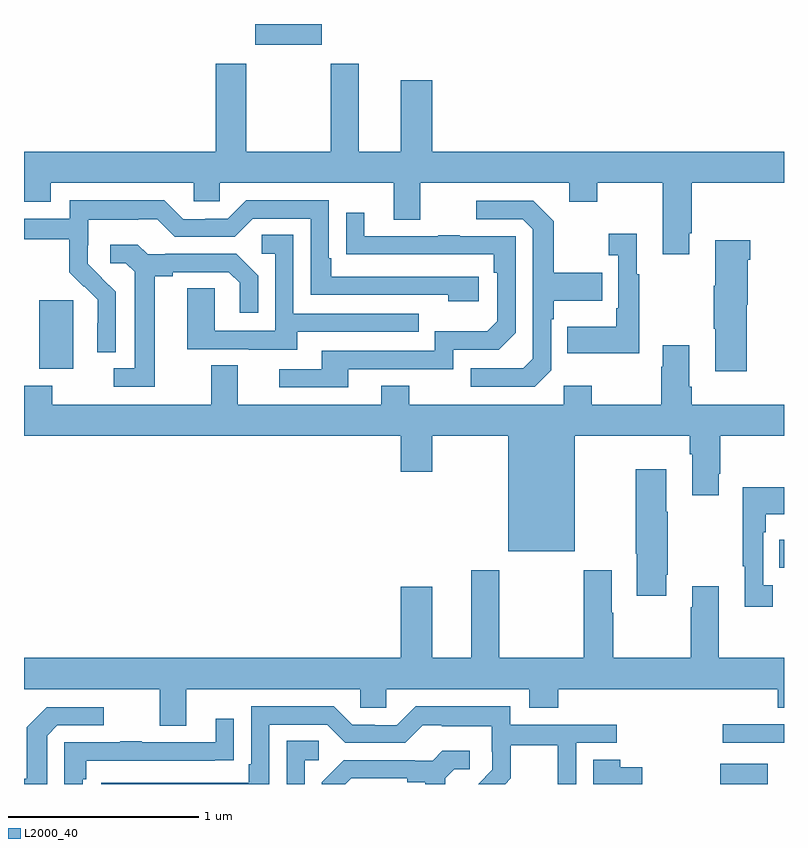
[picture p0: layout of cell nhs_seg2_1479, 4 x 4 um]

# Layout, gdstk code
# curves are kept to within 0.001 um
import gdstk
lib = gdstk.Library(unit=1e-6, precision=1e-09)
def R(c, l, rs):  # rectangles x0, y0, x1, y1
    for r in rs: c.add(gdstk.rectangle(r[:2], r[2:], *l))
def P(c, l, *ps):  # polygons
    for p in ps: c.add(gdstk.Polygon(p, *l))
L2000_40 = (2000, 40)

nhs_seg2_1479 = lib.new_cell('nhs_seg2_1479')
R(nhs_seg2_1479, L2000_40, [(190.664,649.8,190.915,649.906), (190.677,650.016,191,650.114), (190.975,650.938,191,651.085), (187.079,651.986,187.258,652.347), (188.216,653.69,188.566,653.8)])
P(nhs_seg2_1479, L2000_40, [(190.501,652.699),(190.514,652.699),(190.514,652.964),(191,652.964),(191,653.128),(189.148,653.128),(189.148,653.503),(188.984,653.503),(188.984,653.128),(188.761,653.128),(188.761,653.59),(188.614,653.59),(188.614,653.128),(188.169,653.128),(188.169,653.59),(188.009,653.59),(188.009,653.128),(187,653.128),(187,652.865),(187.141,652.865),(187.141,652.964),(187.893,652.964),(187.893,652.866),(188.031,652.866),(188.031,652.964),(188.945,652.964),(188.945,652.77),(189.085,652.77),(189.085,652.964),(189.869,652.964),(189.869,652.865),(190.017,652.865),(190.017,652.964),(190.361,652.964),(190.361,652.587),(190.501,652.587)],
  [(187.482,652.39),(187.336,652.538),(187.336,652.635),(187.338,652.635),(187.338,652.769),(187.601,652.769),(187.601,652.773),(187.701,652.773),(187.794,652.68),(188.109,652.68),(188.205,652.776),(188.508,652.776),(188.508,652.374),(189.233,652.374),(189.233,652.34),(189.394,652.34),(189.394,652.47),(188.617,652.47),(188.617,652.567),(188.604,652.567),(188.604,652.872),(188.169,652.872),(188.073,652.776),(187.955,652.776),(187.955,652.773),(187.839,652.773),(187.739,652.873),(187.242,652.873),(187.242,652.776),(187,652.776),(187,652.668),(187.237,652.668),(187.237,652.493),(187.314,652.416),(187.317,652.419),(187.388,652.349),(187.388,652.226),(187.386,652.226),(187.386,652.072),(187.482,652.072)],
  [(189.774,651.978),(189.774,652.247),(189.787,652.247),(189.787,652.343),(190.043,652.343),(190.043,652.491),(189.787,652.491),(189.787,652.763),(189.681,652.869),(189.381,652.869),(189.381,652.773),(189.624,652.773),(189.678,652.719),(189.678,652.038),(189.627,651.987),(189.351,651.987),(189.351,651.891),(189.687,651.891)],
  [(188.707,651.984),(189.258,651.984),(189.258,652.086),(189.498,652.086),(189.588,652.176),(189.588,652.683),(189.293,652.683),(189.293,652.688),(189.181,652.688),(189.181,652.683),(188.791,652.683),(188.791,652.807),(188.695,652.807),(188.695,652.588),(189.472,652.587),(189.472,652.49),(189.492,652.49),(189.492,652.236),(189.439,652.183),(189.162,652.183),(189.162,652.08),(188.567,652.08),(188.567,651.984),(188.343,651.984),(188.343,651.888),(188.707,651.888)],
  [(190.237,652.483),(190.225,652.483),(190.225,652.696),(190.077,652.696),(190.077,652.583),(190.128,652.583),(190.128,652.303),(190.116,652.303),(190.116,652.207),(189.859,652.207),(189.859,652.067),(190.237,652.067)],
  [(188.437,652.179),(189.077,652.179),(189.077,652.275),(188.418,652.275),(188.418,652.691),(188.25,652.691),(188.25,652.59),(188.322,652.59),(188.322,652.185),(188.004,652.185),(188.004,652.409),(187.859,652.409),(187.859,652.089),(188.183,652.089),(188.183,652.085),(188.437,652.085)],
  [(190.805,652.323),(190.81,652.323),(190.81,652.559),(190.823,652.559),(190.823,652.663),(190.637,652.663),(190.637,652.423),(190.63,652.423),(190.63,652.195),(190.637,652.195),(190.637,651.972),(190.805,651.972)],
  [(187.687,652.472),(187.783,652.472),(187.783,652.494),(188.078,652.494),(188.135,652.437),(188.135,652.281),(188.232,652.281),(188.232,652.474),(188.116,652.59),(187.744,652.59),(187.744,652.587),(187.65,652.587),(187.598,652.639),(187.455,652.639),(187.455,652.542),(187.536,652.542),(187.583,652.495),(187.583,651.987),(187.473,651.987),(187.473,651.891),(187.687,651.891)],
  [(189.898,651.632),(190.505,651.632),(190.505,651.536),(190.517,651.536),(190.517,651.321),(190.657,651.321),(190.657,651.433),(190.665,651.433),(190.665,651.632),(191,651.632),(191,651.796),(190.514,651.796),(190.514,651.892),(190.501,651.892),(190.501,652.108),(190.361,652.108),(190.361,651.995),(190.354,651.995),(190.354,651.796),(189.987,651.796),(189.987,651.895),(189.84,651.895),(189.84,651.796),(189.027,651.796),(189.027,651.895),(188.879,651.895),(188.879,651.796),(188.125,651.796),(188.125,652.004),(187.985,652.004),(187.985,651.796),(187.149,651.796),(187.149,651.895),(187,651.895),(187,651.632),(188.984,651.632),(188.984,651.444),(189.148,651.444),(189.148,651.632),(189.548,651.632),(189.548,651.026),(189.898,651.026)],
  [(190.381,650.902),(190.389,650.902),(190.389,651.233),(190.381,651.233),(190.381,651.457),(190.219,651.457),(190.219,651.013),(190.226,651.013),(190.226,650.79),(190.381,650.79)],
  [(190.942,650.846),(190.89,650.846),(190.89,651.125),(190.903,651.125),(190.903,651.221),(191,651.221),(191,651.361),(190.782,651.361),(190.782,650.945),(190.793,650.945),(190.793,650.733),(190.942,650.733)],
  [(187.855,650.3),(188.769,650.3),(188.769,650.202),(188.907,650.202),(188.907,650.3),(189.659,650.3),(189.659,650.201),(189.812,650.201),(189.812,650.3),(190.967,650.3),(190.967,650.202),(191,650.202),(191,650.464),(190.657,650.464),(190.657,650.842),(190.517,650.842),(190.517,650.729),(190.51,650.729),(190.51,650.464),(190.101,650.464),(190.101,650.702),(190.093,650.702),(190.093,650.926),(189.946,650.926),(189.946,650.464),(189.501,650.464),(189.501,650.926),(189.353,650.926),(189.353,650.464),(189.148,650.464),(189.148,650.839),(188.984,650.839),(188.984,650.464),(187,650.464),(187,650.3),(187.715,650.3),(187.715,650.106),(187.855,650.106)],
  [(188.292,650.112),(188.595,650.112),(188.691,650.016),(189.006,650.016),(189.099,650.109),(189.199,650.109),(189.199,650.105),(189.462,650.105),(189.462,649.971),(189.464,649.971),(189.464,649.874),(189.39,649.8),(189.534,649.8),(189.563,649.829),(189.563,650.004),(189.808,650.004),(189.808,649.8),(189.906,649.8),(189.906,650.016),(190.12,650.016),(190.12,650.112),(189.558,650.112),(189.558,650.209),(189.061,650.209),(188.961,650.109),(188.846,650.109),(188.846,650.112),(188.727,650.112),(188.631,650.208),(188.196,650.208),(188.196,649.903),(188.183,649.903),(188.183,649.806),(187.407,649.806),(187.407,649.8),(188.292,649.8)],
  [(187.122,650.055),(187.176,650.109),(187.42,650.109),(187.42,650.205),(187.119,650.205),(187.014,650.099),(187.014,649.827),(187,649.827),(187,649.8),(187.122,649.8)],
  [(187.308,649.826),(187.328,649.826),(187.328,649.923),(188.003,649.923),(188.003,649.924),(188.105,649.924),(188.105,650.143),(188.009,650.143),(188.009,650.019),(187.619,650.019),(187.619,650.024),(187.507,650.024),(187.507,650.019),(187.212,650.019),(187.212,649.8),(187.308,649.8)],
  [(188.478,649.926),(188.551,649.926),(188.551,650.027),(188.382,650.027),(188.382,649.8),(188.478,649.8)],
  [(188.722,649.83),(189.017,649.83),(189.017,649.808),(189.113,649.808),(189.113,649.8),(189.217,649.8),(189.217,649.831),(189.264,649.878),(189.346,649.878),(189.346,649.975),(189.202,649.975),(189.15,649.923),(189.056,649.923),(189.056,649.926),(188.684,649.926),(188.568,649.81),(188.568,649.8),(188.692,649.8)],
  [(190.255,649.888),(190.139,649.888),(190.139,649.927),(189.995,649.927),(189.995,649.8),(190.255,649.8)])

lib.write_gds('nhs_seg2_1479.gds')
